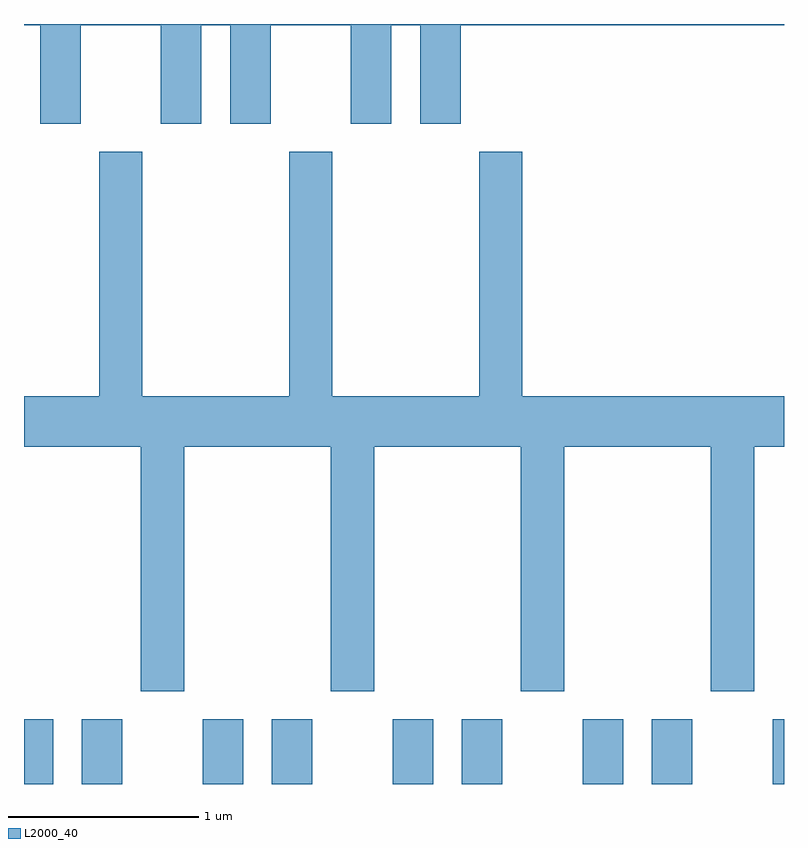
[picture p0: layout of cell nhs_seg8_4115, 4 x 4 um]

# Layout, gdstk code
import gdstk
lib = gdstk.Library(unit=1e-6, precision=1e-09)
def R(c, l, rs):  # rectangles x0, y0, x1, y1
    for r in rs: c.add(gdstk.rectangle(r[:2], r[2:], *l))
def P(c, l, *ps):  # polygons
    for p in ps: c.add(gdstk.Polygon(p, *l))
L2000_40 = (2000, 40)

nhs_seg8_4115 = lib.new_cell('nhs_seg8_4115')
R(nhs_seg8_4115, L2000_40, [(307.611,1912.342,307.764,1912.684), (307.916,1912.342,308.129,1912.684), (308.551,1912.342,308.764,1912.684), (308.916,1912.342,309.129,1912.684), (309.551,1912.342,309.764,1912.684), (309.916,1912.342,310.129,1912.684), (310.551,1912.342,310.764,1912.684), (310.916,1912.342,311.129,1912.684), (311.551,1912.342,311.611,1912.684)])
P(nhs_seg8_4115, L2000_40, [(307.909,1916.336),(308.331,1916.336),(308.331,1915.816),(308.544,1915.816),(308.544,1916.336),(308.696,1916.336),(308.696,1915.816),(308.909,1915.816),(308.909,1916.336),(309.331,1916.336),(309.331,1915.816),(309.544,1915.816),(309.544,1916.336),(309.696,1916.336),(309.696,1915.816),(309.909,1915.816),(309.909,1916.336),(311.611,1916.336),(311.611,1916.342),(307.611,1916.342),(307.611,1916.336),(307.696,1916.336),(307.696,1915.816),(307.909,1915.816)],
  [(308.454,1914.116),(309.226,1914.116),(309.226,1912.831),(309.454,1912.831),(309.454,1914.116),(310.226,1914.116),(310.226,1912.831),(310.454,1912.831),(310.454,1914.116),(311.226,1914.116),(311.226,1912.831),(311.454,1912.831),(311.454,1914.116),(311.611,1914.116),(311.611,1914.384),(310.234,1914.384),(310.234,1915.669),(310.006,1915.669),(310.006,1914.384),(309.234,1914.384),(309.234,1915.669),(309.006,1915.669),(309.006,1914.384),(308.234,1914.384),(308.234,1915.669),(308.006,1915.669),(308.006,1914.384),(307.611,1914.384),(307.611,1914.116),(308.226,1914.116),(308.226,1912.831),(308.454,1912.831)])

lib.write_gds('nhs_seg8_4115.gds')
